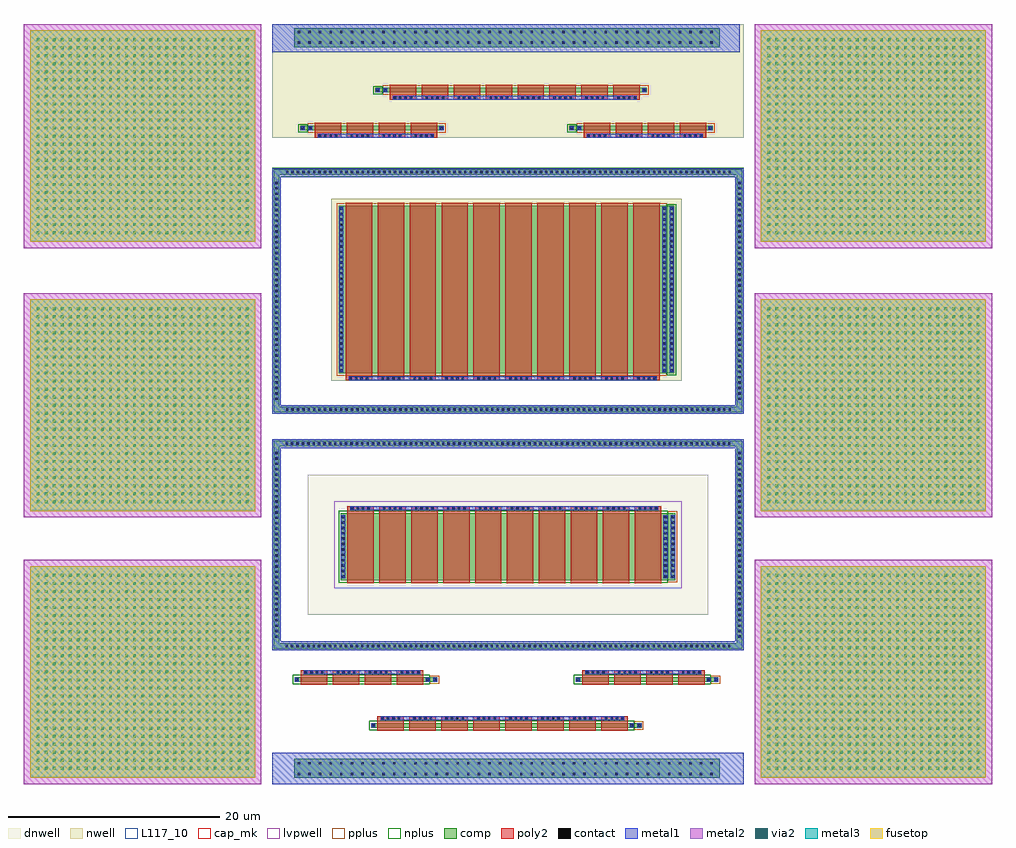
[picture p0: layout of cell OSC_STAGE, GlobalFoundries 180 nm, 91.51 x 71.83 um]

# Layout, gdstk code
from math import pi, radians
import gdstk
lib = gdstk.Library(unit=1e-6, precision=5e-09)
def R(c, l, rs):  # rectangles x0, y0, x1, y1
    for r in rs: c.add(gdstk.rectangle(r[:2], r[2:], *l))
def A(c, l, x, y, w, h, nx, ny, dx, dy):  # array of equal rectangles
    R(c, l, [(x+i*dx, y+j*dy, x+i*dx+w, y+j*dy+h) for i in range(nx) for j in range(ny)])
def P(c, l, *ps):  # polygons
    for p in ps: c.add(gdstk.Polygon(p, *l))
dnwell = (12, 0)
nwell = (21, 0)
comp = (22, 0)
poly2 = (30, 0)
pplus = (31, 0)
nplus = (32, 0)
contact = (33, 0)
metal1 = (34, 0)
metal2 = (36, 0)
via2 = (38, 0)
metal3 = (42, 0)
fusetop = (75, 0)
cap_mk = (117, 5)
L117_10 = (117, 10)
lvpwell = (204, 0)

nfet_3 = lib.new_cell('nfet$3')
R(nfet_3, dnwell, [(-3.55,-3.26,34.32,9.96)])
R(nfet_3, comp, [(-0.42,0,0,6.33), (0,0,30.06,6.33), (30.06,0,30.48,6.33), (30.48,0,31.19,6.33)])
P(nfet_3, comp, [(-6.75,-6.46),(-6.75,12.66),(-6.25,12.66),(-6.25,-5.96),(37.02,-5.96),(37.02,12.66),(-6.75,12.66),(-6.75,13.16),(37.52,13.16),(37.52,-6.46)])
A(nfet_3, poly2, 0.19, -0.3, 2.5, 6.93, 10, 1, 3.02, 0)
A(nfet_3, poly2, 0.19, 6.63, 2.5, 0.36, 10, 1, 3.02, 0)
R(nfet_3, pplus, [(30.48,-0.17,31.36,6.5)])
P(nfet_3, pplus, [(-6.92,-6.63),(-6.92,12.49),(-6.08,12.49),(-6.08,-5.79),(36.85,-5.79),(36.85,12.49),(-6.92,12.49),(-6.92,13.33),(37.69,13.33),(37.69,-6.63)])
R(nfet_3, nplus, [(-0.59,-0.24,30.48,6.57)])
A(nfet_3, contact, -5.635, -6.32, 0.22, 0.22, 83, 2, 0.51, 19.12)
A(nfet_3, contact, -6.61, -5.43, 0.22, 0.22, 1, 35, 0, 0.51)
A(nfet_3, contact, 37.16, -5.43, 0.22, 0.22, 1, 35, 0, 0.51)
A(nfet_3, contact, -0.32, 0.25, 0.22, 0.22, 1, 12, 0, 0.51)
A(nfet_3, contact, 30.16, 0.25, 0.22, 0.22, 1, 12, 0, 0.51)
A(nfet_3, contact, 30.87, 0.25, 0.22, 0.22, 1, 12, 0, 0.51)
A(nfet_3, contact, 0.565, 6.7, 0.22, 0.22, 4, 1, 0.51, 0)
A(nfet_3, contact, 3.585, 6.7, 0.22, 0.22, 4, 1, 0.51, 0)
A(nfet_3, contact, 6.605, 6.7, 0.22, 0.22, 4, 1, 0.51, 0)
A(nfet_3, contact, 9.625, 6.7, 0.22, 0.22, 4, 1, 0.51, 0)
A(nfet_3, contact, 12.645, 6.7, 0.22, 0.22, 4, 1, 0.51, 0)
A(nfet_3, contact, 15.665, 6.7, 0.22, 0.22, 4, 1, 0.51, 0)
A(nfet_3, contact, 18.685, 6.7, 0.22, 0.22, 4, 1, 0.51, 0)
A(nfet_3, contact, 21.705, 6.7, 0.22, 0.22, 4, 1, 0.51, 0)
A(nfet_3, contact, 24.725, 6.7, 0.22, 0.22, 4, 1, 0.51, 0)
A(nfet_3, contact, 27.745, 6.7, 0.22, 0.22, 4, 1, 0.51, 0)
A(nfet_3, metal1, 0.485, 6.62, 1.91, 0.38, 10, 1, 3.02, 0)
R(nfet_3, metal1, [(-0.4,0.17,-0.02,6.16), (30.08,0.17,30.46,6.16), (30.79,0.17,31.17,6.16)])
R(nfet_3, lvpwell, [(-1.04,-0.75,31.81,7.45)])

pfet_2 = lib.new_cell('pfet$2')
R(pfet_2, nwell, [(-1.15,-0.69,31.94,16.515)])
R(pfet_2, comp, [(-0.46,0,0,15.825), (0,0,30.06,15.825), (30.06,0,30.52,15.825), (30.52,0,31.25,15.825)])
A(pfet_2, poly2, 0.19, -0.68, 2.5, 0.38, 10, 1, 3.02, 0)
A(pfet_2, poly2, 0.19, -0.3, 2.5, 16.425, 10, 1, 3.02, 0)
R(pfet_2, pplus, [(-0.63,-0.24,30.52,16.065)])
R(pfet_2, nplus, [(30.52,-0.17,31.42,15.995)])
A(pfet_2, contact, 0.565, -0.6, 0.22, 0.22, 4, 1, 0.51, 0)
A(pfet_2, contact, 3.585, -0.6, 0.22, 0.22, 4, 1, 0.51, 0)
A(pfet_2, contact, 6.605, -0.6, 0.22, 0.22, 4, 1, 0.51, 0)
A(pfet_2, contact, 9.625, -0.6, 0.22, 0.22, 4, 1, 0.51, 0)
A(pfet_2, contact, 12.645, -0.6, 0.22, 0.22, 4, 1, 0.51, 0)
A(pfet_2, contact, 15.665, -0.6, 0.22, 0.22, 4, 1, 0.51, 0)
A(pfet_2, contact, 18.685, -0.6, 0.22, 0.22, 4, 1, 0.51, 0)
A(pfet_2, contact, 21.705, -0.6, 0.22, 0.22, 4, 1, 0.51, 0)
A(pfet_2, contact, 24.725, -0.6, 0.22, 0.22, 4, 1, 0.51, 0)
A(pfet_2, contact, 27.745, -0.6, 0.22, 0.22, 4, 1, 0.51, 0)
A(pfet_2, contact, -0.34, 0.155, 0.22, 0.22, 1, 31, 0, 0.51)
A(pfet_2, contact, 30.18, 0.155, 0.22, 0.22, 1, 31, 0, 0.51)
A(pfet_2, contact, 30.91, 0.155, 0.22, 0.22, 1, 31, 0, 0.51)
A(pfet_2, metal1, 0.485, -0.68, 1.91, 0.38, 10, 1, 3.02, 0)
R(pfet_2, metal1, [(-0.42,0.075,-0.04,15.755), (30.1,0.075,30.48,15.755), (30.83,0.075,31.21,15.755)])

nfet = lib.new_cell('nfet')
R(nfet, comp, [(-0.42,-0.01,0,0.43), (11.94,-0.01,12.36,0.43), (12.36,-0.01,13.07,0.43), (0,0,11.94,0.42)])
A(nfet, poly2, 0.19, -0.3, 2.5, 1.02, 4, 1, 3.02, 0)
A(nfet, poly2, 0.19, 0.72, 2.5, 0.36, 4, 1, 3.02, 0)
R(nfet, pplus, [(12.36,-0.17,13.24,0.59)])
R(nfet, nplus, [(-0.59,-0.25,12.36,0.67)])
A(nfet, contact, 0.565, 0.79, 0.22, 0.22, 4, 1, 0.51, 0)
A(nfet, contact, 3.585, 0.79, 0.22, 0.22, 4, 1, 0.51, 0)
A(nfet, contact, 6.605, 0.79, 0.22, 0.22, 4, 1, 0.51, 0)
A(nfet, contact, 9.625, 0.79, 0.22, 0.22, 4, 1, 0.51, 0)
R(nfet, contact, [(-0.32,0.1,-0.1,0.32), (12.04,0.1,12.26,0.32), (12.75,0.1,12.97,0.32)])
A(nfet, metal1, 0.485, 0.71, 1.91, 0.38, 4, 1, 3.02, 0)
R(nfet, metal1, [(-0.4,0.02,-0.02,0.4), (11.96,0.02,12.34,0.4), (12.67,0.02,13.05,0.4)])

nfet_6 = lib.new_cell('nfet$6')
R(nfet_6, comp, [(-0.42,-0.01,0,0.43), (24.02,-0.01,24.44,0.43), (24.44,-0.01,25.15,0.43), (0,0,24.02,0.42)])
A(nfet_6, poly2, 0.19, -0.3, 2.5, 1.02, 8, 1, 3.02, 0)
A(nfet_6, poly2, 0.19, 0.72, 2.5, 0.36, 8, 1, 3.02, 0)
R(nfet_6, pplus, [(24.44,-0.17,25.32,0.59)])
R(nfet_6, nplus, [(-0.59,-0.25,24.44,0.67)])
A(nfet_6, contact, 0.565, 0.79, 0.22, 0.22, 4, 1, 0.51, 0)
A(nfet_6, contact, 3.585, 0.79, 0.22, 0.22, 4, 1, 0.51, 0)
A(nfet_6, contact, 6.605, 0.79, 0.22, 0.22, 4, 1, 0.51, 0)
A(nfet_6, contact, 9.625, 0.79, 0.22, 0.22, 4, 1, 0.51, 0)
A(nfet_6, contact, 12.645, 0.79, 0.22, 0.22, 4, 1, 0.51, 0)
A(nfet_6, contact, 15.665, 0.79, 0.22, 0.22, 4, 1, 0.51, 0)
A(nfet_6, contact, 18.685, 0.79, 0.22, 0.22, 4, 1, 0.51, 0)
A(nfet_6, contact, 21.705, 0.79, 0.22, 0.22, 4, 1, 0.51, 0)
R(nfet_6, contact, [(-0.32,0.1,-0.1,0.32), (24.12,0.1,24.34,0.32), (24.83,0.1,25.05,0.32)])
A(nfet_6, metal1, 0.485, 0.71, 1.91, 0.38, 8, 1, 3.02, 0)
R(nfet_6, metal1, [(-0.4,0.02,-0.02,0.4), (24.04,0.02,24.42,0.4), (24.75,0.02,25.13,0.4)])

pfet_1 = lib.new_cell('pfet$1')
R(pfet_1, nwell, [(-1.16,-0.71,13.83,1.13)])
R(pfet_1, comp, [(-0.46,-0.01,0,0.43), (11.94,-0.01,12.4,0.43), (12.4,-0.01,13.13,0.43), (0,0,11.94,0.42)])
A(pfet_1, poly2, 0.19, -0.3, 2.5, 1.02, 4, 1, 3.02, 0)
A(pfet_1, poly2, 0.19, 0.72, 2.5, 0.38, 4, 1, 3.02, 0)
R(pfet_1, pplus, [(-0.63,-0.25,12.4,0.67)])
R(pfet_1, nplus, [(12.4,-0.17,13.3,0.59)])
A(pfet_1, contact, 0.565, 0.8, 0.22, 0.22, 4, 1, 0.51, 0)
A(pfet_1, contact, 3.585, 0.8, 0.22, 0.22, 4, 1, 0.51, 0)
A(pfet_1, contact, 6.605, 0.8, 0.22, 0.22, 4, 1, 0.51, 0)
A(pfet_1, contact, 9.625, 0.8, 0.22, 0.22, 4, 1, 0.51, 0)
R(pfet_1, contact, [(-0.34,0.1,-0.12,0.32), (12.06,0.1,12.28,0.32), (12.79,0.1,13.01,0.32)])
A(pfet_1, metal1, 0.485, 0.72, 1.91, 0.38, 4, 1, 3.02, 0)
R(pfet_1, metal1, [(-0.42,0.02,-0.04,0.4), (11.98,0.02,12.36,0.4), (12.71,0.02,13.09,0.4)])

pfet = lib.new_cell('pfet')
R(pfet, nwell, [(-1.16,-0.71,25.91,1.13)])
R(pfet, comp, [(-0.46,-0.01,0,0.43), (24.02,-0.01,24.48,0.43), (24.48,-0.01,25.21,0.43), (0,0,24.02,0.42)])
A(pfet, poly2, 0.19, -0.3, 2.5, 1.02, 8, 1, 3.02, 0)
A(pfet, poly2, 0.19, 0.72, 2.5, 0.38, 8, 1, 3.02, 0)
R(pfet, pplus, [(-0.63,-0.25,24.48,0.67)])
R(pfet, nplus, [(24.48,-0.17,25.38,0.59)])
A(pfet, contact, 0.565, 0.8, 0.22, 0.22, 4, 1, 0.51, 0)
A(pfet, contact, 3.585, 0.8, 0.22, 0.22, 4, 1, 0.51, 0)
A(pfet, contact, 6.605, 0.8, 0.22, 0.22, 4, 1, 0.51, 0)
A(pfet, contact, 9.625, 0.8, 0.22, 0.22, 4, 1, 0.51, 0)
A(pfet, contact, 12.645, 0.8, 0.22, 0.22, 4, 1, 0.51, 0)
A(pfet, contact, 15.665, 0.8, 0.22, 0.22, 4, 1, 0.51, 0)
A(pfet, contact, 18.685, 0.8, 0.22, 0.22, 4, 1, 0.51, 0)
A(pfet, contact, 21.705, 0.8, 0.22, 0.22, 4, 1, 0.51, 0)
R(pfet, contact, [(-0.34,0.1,-0.12,0.32), (24.14,0.1,24.36,0.32), (24.87,0.1,25.09,0.32)])
A(pfet, metal1, 0.485, 0.72, 1.91, 0.38, 8, 1, 3.02, 0)
R(pfet, metal1, [(-0.42,0.02,-0.04,0.4), (24.06,0.02,24.44,0.4), (24.79,0.02,25.17,0.4)])

top = lib.new_cell('TOP')
R(top, nwell, [(0,-306.74,44.61,-295.98)])
R(top, comp, [(2.1,-367.24,42.3,-365.44), (0.17,-332.67,43.93,-332.17), (43.93,-332.67,44.43,-310.23), (0.17,-332.17,0.67,-310.23), (0.17,-310.23,44.43,-309.73), (2.1,-298.16,42.3,-296.36)])
R(top, pplus, [(0,-367.81,44.61,-364.88)])
R(top, nplus, [(0,-332.83,43.77,-331.99), (43.77,-332.83,44.61,-310.41), (0,-331.99,0.84,-310.41), (0,-310.41,44.61,-309.57), (0,-298.65,44.23,-295.98)])
A(top, contact, 2.44, -366.96, 0.22, 0.22, 40, 2, 1, 1)
A(top, contact, 1.33, -332.53, 0.22, 0.22, 83, 2, 0.51, 22.44)
A(top, contact, 0.31, -331.51, 0.22, 0.22, 1, 41, 0, 0.51)
A(top, contact, 44.07, -331.51, 0.22, 0.22, 1, 41, 0, 0.51)
A(top, contact, 2.44, -297.85, 0.22, 0.22, 40, 2, 1, 1)
R(top, metal1, [(0,-367.81,44.61,-364.88), (12.175,-361.78,31.69,-361.4), (2.985,-357.44,12.285,-357.06), (31.525,-357.44,38.675,-357.06), (0,-355.18,43.77,-354.34), (43.77,-355.18,44.61,-336.06), (0,-354.34,0.84,-336.06), (9.315,-341.93,34.75,-341.55), (0,-336.06,44.61,-335.22), (0,-332.83,43.77,-331.99), (43.77,-332.83,44.61,-310.46), (0,-331.99,0.84,-310.46), (9.165,-329.67,35.66,-329.29), (0,-310.46,44.61,-309.62), (6.245,-306.71,14.06,-306.33), (31.665,-306.71,40.19,-306.33), (13.33,-303.12,33.65,-302.74), (0,-298.65,44.23,-295.98)])
top.add(gdstk.Reference(nfet_3, (6.92,-348.55)))
top.add(gdstk.Reference(pfet_2, (6.77,-328.99)))
top.add(gdstk.Reference(nfet, (29.13,-358.15)))
top.add(gdstk.Reference(nfet_6, (9.78,-362.49)))
top.add(gdstk.Reference(pfet_1, (15.79,-305.61), rotation=pi))
top.add(gdstk.Reference(pfet_1, (41.21,-305.61), rotation=pi))
top.add(gdstk.Reference(pfet, (34.955,-302.02), rotation=pi))
top.add(gdstk.Reference(nfet, (2.55,-358.15)))
top.add(gdstk.Label('VDD', (4.27,-296.84), layer=34, texttype=0))
top.add(gdstk.Label('VSS', (4.27,-365.95), layer=34, texttype=0))

cap_mim = lib.new_cell('cap_mim')
R(cap_mim, metal2, [(-0.6,-0.6,21.85,20.6)])
A(cap_mim, via2, 0.615, 0.75, 0.26, 0.26, 27, 25, 0.76, 0.76)
R(cap_mim, metal3, [(0,0,21.25,20)])
R(cap_mim, fusetop, [(0,0,21.25,20)])
R(cap_mim, cap_mk, [(-0.6,-0.6,21.85,20.6)])
R(cap_mim, L117_10, [(0,0,21.25,0.1)])

osc_stage = lib.new_cell('OSC_STAGE')
osc_stage.add(gdstk.Reference(top, (0,367.81)))
osc_stage.add(gdstk.Reference(cap_mim, (46.21,51.23)))
osc_stage.add(gdstk.Reference(cap_mim, (46.21,25.8)))
osc_stage.add(gdstk.Reference(cap_mim, (46.21,0.6)))
osc_stage.add(gdstk.Reference(cap_mim, (-22.85,25.8)))
osc_stage.add(gdstk.Reference(cap_mim, (-22.85,51.23)))
osc_stage.add(gdstk.Reference(cap_mim, (-22.85,0.6)))

lib.write_gds('OSC_STAGE.gds')
